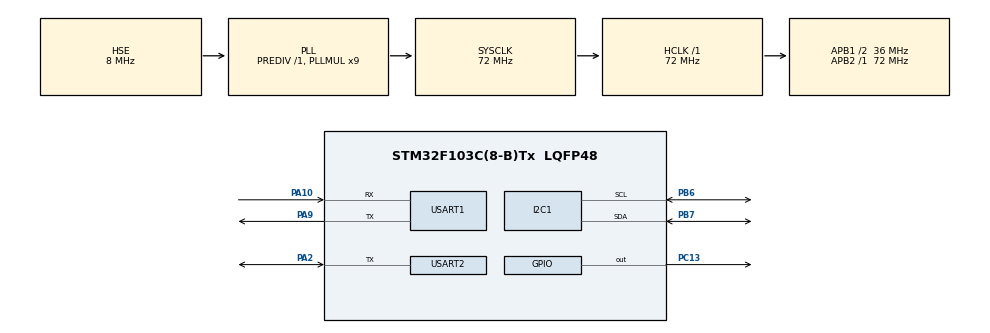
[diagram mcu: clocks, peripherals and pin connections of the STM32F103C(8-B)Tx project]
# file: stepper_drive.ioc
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Mcu.Family=STM32F1
Mcu.Name=STM32F103C(8-B)Tx
Mcu.Package=LQFP48
NVIC.PriorityGroup=NVIC_PRIORITYGROUP_4
NVIC.TIM2_IRQn=true\:0\:0\:false\:false\:true\:true\:true\:true
PA10.Mode=Asynchronous
PA10.Signal=USART1_RX
PA13.Mode=Serial_Wire
PA13.Signal=SYS_JTMS-SWDIO
PA14.Mode=Serial_Wire
PA14.Signal=SYS_JTCK-SWCLK
PA2.Mode=Half_duplex(single_wire_mode)
PA2.Signal=USART2_TX
PA9.Mode=Asynchronous
PA9.Signal=USART1_TX
PB6.Mode=I2C
PB6.Signal=I2C1_SCL
PB7.Mode=I2C
PB7.Signal=I2C1_SDA
PC13-TAMPER-RTC.Signal=GPIO_Output
PD0-OSC_IN.Mode=HSE-External-Oscillator
PD0-OSC_IN.Signal=RCC_OSC_IN
PD1-OSC_OUT.Mode=HSE-External-Oscillator
PD1-OSC_OUT.Signal=RCC_OSC_OUT
ProjectManager.HeapSize=0x200
ProjectManager.StackSize=0x400
ProjectManager.TargetToolchain=STM32CubeIDE
RCC.AHBFreq_Value=72000000
RCC.APB1CLKDivider=RCC_HCLK_DIV2
RCC.APB1Freq_Value=36000000
RCC.APB1TimCLKDivider=2
RCC.APB1TimFreq_Value=72000000
RCC.APB2Freq_Value=72000000
RCC.APB2TimFreq_Value=72000000
RCC.HCLKFreq_Value=72000000
RCC.PLLMUL=RCC_PLL_MUL9
RCC.PLLSourceVirtual=RCC_PLLSOURCE_HSE
RCC.SYSCLKFreq_VALUE=72000000
RCC.SYSCLKSource=RCC_SYSCLKSOURCE_PLLCLK
RCC.USBFreq_Value=48000000
RCC.USBPrescaler=RCC_USBCLKSOURCE_PLL_DIV1_5
TIM2.Period=9
TIM2.Prescaler=7199
USART1.VirtualMode=VM_ASYNC
USART2.VirtualMode=VM_ASYNC
VP_TIM2_VS_ClockSourceINT.Mode=Internal
board=custom

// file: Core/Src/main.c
/* USER CODE BEGIN Header */
/**
  ******************************************************************************
  * @file           : main.c
  * @brief          : Main program body
  ******************************************************************************
  * @attention
  *
  * Copyright (c) 2025 STMicroelectronics.
  * All rights reserved.
  *
  * This software is licensed under terms that can be found in the LICENSE file
  * in the root directory of this software component.
  * If no LICENSE file comes with this software, it is provided AS-IS.
  *
  ******************************************************************************
  */
/* USER CODE END Header */
#include "main.h"
#include "i2c.h"
#include "tim.h"
#include "usart.h"
#include "gpio.h"

/* USER CODE BEGIN Includes */
#include "test.h"
#include "scheduler.h"
#include "angle.h"
#include "globals.h"
/* USER CODE END Includes */

/* USER CODE BEGIN PV */
volatile uint16_t angle_ticks = 0;
volatile float angle_deg = 0;
volatile float angle_deg_prev = 0;
volatile float angular_velocity = 0;
volatile uint8_t tim2_flag = 0;
/* USER CODE END PV */

void SystemClock_Config(void);

int main(void)
{

  /* MCU Configuration--------------------------------------------------------*/

  /* Reset of all peripherals, Initializes the Flash interface and the Systick. */
  HAL_Init();

  /* Configure the system clock */
  SystemClock_Config();

  /* Initialize all configured peripherals */
  MX_GPIO_Init();
  MX_I2C1_Init();
  MX_TIM2_Init();
  MX_USART1_UART_Init();
  MX_USART2_UART_Init();
  /* USER CODE BEGIN 2 */
  //test_init();
  scheduler_init();

  //ADD FUNCTIONS TO SCHEDULER
  scheduler_add(measure_angle, 1);

  HAL_TIM_Base_Start_IT(&htim2);
  scheduler_start();
  /* USER CODE END 2 */

  /* Infinite loop */
  while (1){

  }
}

void SystemClock_Config(void)
{
  RCC_OscInitTypeDef RCC_OscInitStruct = {0};
  RCC_ClkInitTypeDef RCC_ClkInitStruct = {0};

  /** Initializes the RCC Oscillators according to the specified parameters
  * in the RCC_OscInitTypeDef structure.
  */
  RCC_OscInitStruct.OscillatorType = RCC_OSCILLATORTYPE_HSE;
  RCC_OscInitStruct.HSEState = RCC_HSE_ON;
  RCC_OscInitStruct.HSEPredivValue = RCC_HSE_PREDIV_DIV1;
  RCC_OscInitStruct.HSIState = RCC_HSI_ON;
  RCC_OscInitStruct.PLL.PLLState = RCC_PLL_ON;
  RCC_OscInitStruct.PLL.PLLSource = RCC_PLLSOURCE_HSE;
  RCC_OscInitStruct.PLL.PLLMUL = RCC_PLL_MUL9;
  if (HAL_RCC_OscConfig(&RCC_OscInitStruct) != HAL_OK)
  {
    Error_Handler();
  }

  /** Initializes the CPU, AHB and APB buses clocks
  */
  RCC_ClkInitStruct.ClockType = RCC_CLOCKTYPE_HCLK|RCC_CLOCKTYPE_SYSCLK
                              |RCC_CLOCKTYPE_PCLK1|RCC_CLOCKTYPE_PCLK2;
  RCC_ClkInitStruct.SYSCLKSource = RCC_SYSCLKSOURCE_PLLCLK;
  RCC_ClkInitStruct.AHBCLKDivider = RCC_SYSCLK_DIV1;
  RCC_ClkInitStruct.APB1CLKDivider = RCC_HCLK_DIV2;
  RCC_ClkInitStruct.APB2CLKDivider = RCC_HCLK_DIV1;

  if (HAL_RCC_ClockConfig(&RCC_ClkInitStruct, FLASH_LATENCY_2) != HAL_OK)
  {
    Error_Handler();
  }
}

/* USER CODE BEGIN 4 */
//holds a flag that indicates when the timer counted to the set time

void HAL_TIM_PeriodElapsedCallback(TIM_HandleTypeDef *htim)
{
	if(htim->Instance == TIM2)
		tim2_flag = 1;
	HAL_GPIO_TogglePin(GPIOA, GPIO_PIN_5);
}
/* USER CODE END 4 */

void Error_Handler(void)
{
  __disable_irq();
  while (1)
  {
  }
}
